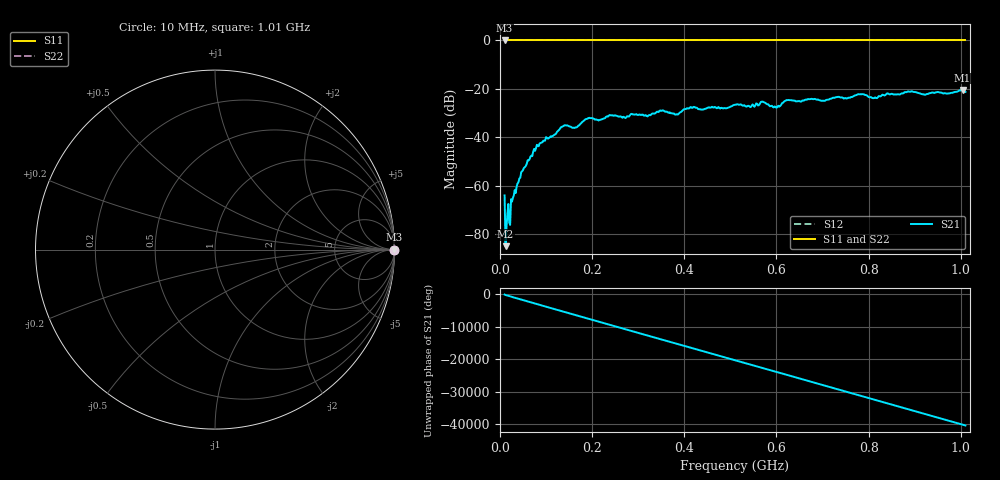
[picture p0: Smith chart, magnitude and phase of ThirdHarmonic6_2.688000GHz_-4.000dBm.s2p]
! 8/17/2025 6:21:28 AM
! C:\ANRITSUVNA\TEMP\TEMP.S2P
! CHANNEL.1
! TR.MEASUREMENT
! RAW.DATA
! RF.CORRECTION.OFF
! AVERAGING.OFF
! IF.BANDWIDTH: 5KHZ
! SWEEPTYPE:  FREQ.SWEEP(Linear)
! Reference Plane Port Info
! PORT:  PORT1  PORT2
! DISTANCE:  0  m  0  m
! TIME:  0  s  0  s
! PHASE.OFFSET:  0  deg.  0  deg.
! LOSS:  0  dB  0  dB
! REF.LOSS:  0  dB  0  dB
! REF.FREQ:  0  Hz  0  Hz
! Power Info
! POWER:  -20  dBm  -20  dBm
! EFF.POWER:  -20  dBm  -20  dBm
! SOURCE.ATTEN:  0  dB  0  dB
! TEST.ATTEN:  0  dB  0  dB
# GHZ S RI R 50.0
! FREQ.GHZ  S11RE  S11IM  S21RE  S21IM  S12RE  S12IM  S22RE  S22IM
!; PortSelection: Port_12
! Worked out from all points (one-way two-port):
!   501 points, 10 MHz to 1.01 GHz, reference 50 ohm
!   highest |S21| = -20.49 dB at 1.004 GHz (marker M1); lowest = -84.9 dB at 12 MHz (marker M2)
!   lowest |S11| = 0.0 dB at 10 MHz (marker M3)
!   |S11| at or under -10 dB: nowhere
!   |S22| runs from 0.0 to 0.0 dB; largest |S21 - S12| = 1.1
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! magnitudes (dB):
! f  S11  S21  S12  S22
! 10 MHz  0.0  -64.0  0.0  0.0
! 12 MHz  0.0  -84.9  0.0  0.0
! 16 MHz  0.0  -72.0  0.0  0.0
! 18 MHz  0.0  -67.5  0.0  0.0
! 24 MHz  0.0  -65.5  0.0  0.0
! 28 MHz  0.0  -65.0  0.0  0.0
! 46 MHz  0.0  -54.4  0.0  0.0
! 78 MHz  0.0  -44.6  0.0  0.0
! 136 MHz  0.0  -35.5  0.0  0.0
! 162 MHz  0.0  -36.1  0.0  0.0
! 178 MHz  0.0  -33.8  0.0  0.0
! 344 MHz  0.0  -29.6  0.0  0.0
! 384 MHz  0.0  -30.5  0.0  0.0
! 416 MHz  0.0  -27.8  0.0  0.0
! 510 MHz  0.0  -26.5  0.0  0.0
! 570 MHz  0.0  -25.2  0.0  0.0
! 598 MHz  0.0  -27.4  0.0  0.0
! 622 MHz  0.0  -24.6  0.0  0.0
! 678 MHz  0.0  -24.2  0.0  0.0
! 844 MHz  0.0  -22.1  0.0  0.0
! 1.004 GHz  0.0  -20.5  0.0  0.0
! 1.01 GHz  0.0  -21.3  0.0  0.0
